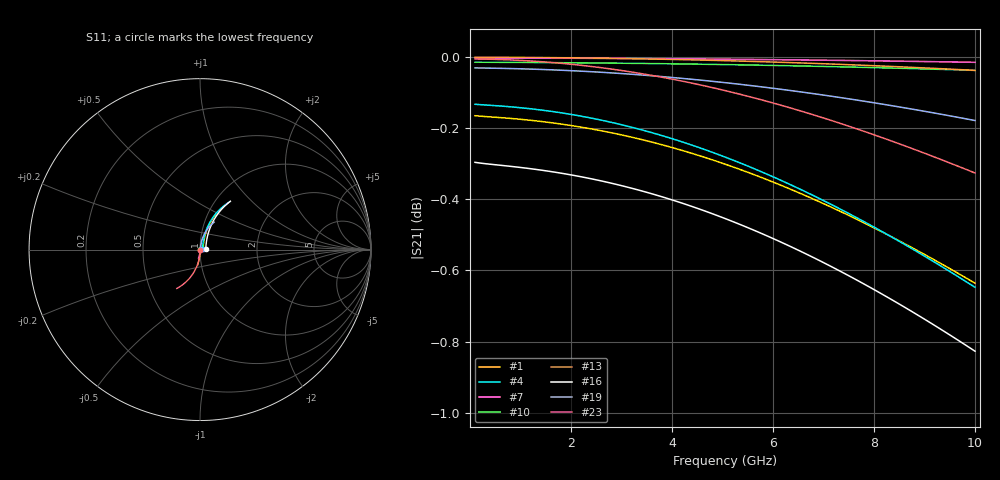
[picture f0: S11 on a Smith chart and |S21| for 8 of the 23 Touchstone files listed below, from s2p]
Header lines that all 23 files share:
# Hz S RI R 50.00
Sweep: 100 MHz to 10 GHz
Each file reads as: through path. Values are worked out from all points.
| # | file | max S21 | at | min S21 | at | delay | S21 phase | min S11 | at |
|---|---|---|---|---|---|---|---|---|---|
| 1 | 4001.s2p | -0.17 dB | 100 MHz | -0.6 dB | 10 GHz | 7.67 ps | -14 deg at 5.1 GHz | -34.4 dB | 100 MHz |
| 2 | 4003.s2p | -0.12 dB | 100 MHz | -0.4 dB | 10 GHz | 9.28 ps | -17 deg at 5.1 GHz | -37.3 dB | 100 MHz |
| 3 | 4004.s2p | 0.00 dB | 100 MHz | 0.0 dB | 10 GHz | - | -2 deg at 5.1 GHz | -67.4 dB | 100 MHz |
| 4 | 4005.s2p | -0.13 dB | 100 MHz | -0.6 dB | 10 GHz | 8.17 ps | -15 deg at 5.1 GHz | -36.1 dB | 100 MHz |
| 5 | 4006.s2p | -0.07 dB | 100 MHz | -0.1 dB | 10 GHz | 2.18 ps | -4 deg at 5.1 GHz | -42.2 dB | 100 MHz |
| 6 | 4008.s2p | -0.04 dB | 100 MHz | -0.1 dB | 10 GHz | - | -3 deg at 5.1 GHz | -46.2 dB | 100 MHz |
| 7 | 4012.s2p | 0.00 dB | 100 MHz | 0.0 dB | 10 GHz | 2.86 ps | -5 deg at 5.1 GHz | -64.7 dB | 100 MHz |
| 8 | 4014.s2p | -0.01 dB | 100 MHz | -0.2 dB | 10 GHz | 7.3 ps | -13 deg at 5.1 GHz | -52.6 dB | 100 MHz |
| 9 | 4015.s2p | -0.01 dB | 100 MHz | -1.1 dB | 10 GHz | 12 ps | -23 deg at 5.1 GHz | -44.8 dB | 100 MHz |
| 10 | 4017.s2p | -0.01 dB | 100 MHz | 0.0 dB | 10 GHz | 2.87 ps | -5 deg at 5.1 GHz | -54.8 dB | 100 MHz |
| 11 | 4018.s2p | 0.00 dB | 100 MHz | -0.3 dB | 10 GHz | 9.05 ps | -17 deg at 5.1 GHz | -51.2 dB | 100 MHz |
| 12 | 4019.s2p | -0.45 dB | 100 MHz | -0.6 dB | 10 GHz | 3.64 ps | -7 deg at 5.1 GHz | -26.0 dB | 100 MHz |
| 13 | 4023.s2p | 0.00 dB | 100 MHz | 0.0 dB | 10 GHz | 2.31 ps | -4 deg at 5.1 GHz | -60.9 dB | 100 MHz |
| 14 | 4024.s2p | 0.00 dB | 100 MHz | -0.2 dB | 10 GHz | 6.55 ps | -12 deg at 5.1 GHz | -53.2 dB | 100 MHz |
| 15 | 4025.s2p | -0.06 dB | 100 MHz | -0.1 dB | 10 GHz | 4.6 ps | -8 deg at 5.1 GHz | -42.9 dB | 100 MHz |
| 16 | 4026.s2p | -0.30 dB | 100 MHz | -0.8 dB | 10 GHz | 7.35 ps | -14 deg at 5.1 GHz | -29.4 dB | 100 MHz |
| 17 | 4027.s2p | -0.01 dB | 100 MHz | 0.0 dB | 10 GHz | 4.35 ps | -8 deg at 5.1 GHz | -58.0 dB | 100 MHz |
| 18 | 4028.s2p | -0.22 dB | 100 MHz | -1.0 dB | 10 GHz | 9.62 ps | -18 deg at 5.1 GHz | -32.0 dB | 100 MHz |
| 19 | 4030.s2p | -0.03 dB | 100 MHz | -0.2 dB | 10 GHz | 7.29 ps | -13 deg at 5.1 GHz | -48.0 dB | 100 MHz |
| 20 | 4031.s2p | -0.01 dB | 100 MHz | 0.0 dB | 10 GHz | 8.82 ps | -16 deg at 5.1 GHz | -55.5 dB | 100 MHz |
| 21 | 4036.s2p | -0.38 dB | 100 MHz | -0.6 dB | 10 GHz | 4.06 ps | -8 deg at 5.1 GHz | -27.3 dB | 100 MHz |
| 22 | 4038.s2p | -0.01 dB | 100 MHz | 0.0 dB | 10 GHz | 3.35 ps | -6 deg at 5.1 GHz | -58.9 dB | 100 MHz |
| 23 | 4039.s2p | -0.01 dB | 100 MHz | -0.3 dB | 10 GHz | 8.61 ps | -16 deg at 5.1 GHz | -50.8 dB | 100 MHz |
